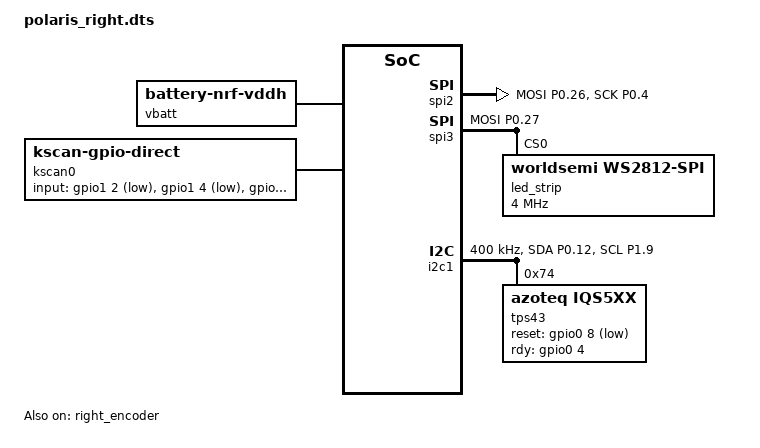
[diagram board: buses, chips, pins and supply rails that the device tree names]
#include "polaris.dtsi"
#include <dt-bindings/led/led.h>

&default_transform {
		col-offset=<25>;
};

/ {
};

&pinctrl {
 spi2_default: spi2_default {
				group1 {
						psels = <NRF_PSEL(SPIM_MOSI, 0, 26)>,
						<NRF_PSEL(SPIM_SCK, 0, 4)>;
				};
		};
	
    spi2_sleep: spi2_sleep {
				group1 {
						psels = <NRF_PSEL(SPIM_MOSI, 0, 26)>,
						<NRF_PSEL(SPIM_SCK, 0, 4)>;
						low-power-enable;
				};
		};

    spi3_default: spi3_default {
				group1 {
						psels = <NRF_PSEL(SPIM_MOSI, 0, 27)>;
				};
		};
	
    spi3_sleep: spi3_sleep {
				group1 {
						psels = <NRF_PSEL(SPIM_MOSI, 0, 27)>;
						low-power-enable;
				};
		};
    i2c1_default: i2c1_default {
        group1 {
            psels = <NRF_PSEL(TWIM_SDA, 0, 12)>,
                <NRF_PSEL(TWIM_SCL, 1, 9)>;
						bias-pull-up;
        };
    };

    i2c1_sleep: i2c1_sleep {
        group1 {
            psels = <NRF_PSEL(TWIM_SDA, 0, 12)>,
                <NRF_PSEL(TWIM_SCL, 1, 9)>;
            low-power-enable;
						bias-pull-up;
        };
    };
};



lpm_view_spi: &spi2 {
    compatible = "nordic,nrf-spim";
    pinctrl-0 = <&spi2_default>;
    pinctrl-1 = <&spi2_sleep>;
    pinctrl-names = "default", "sleep";
    cs-gpios = <&gpio0 6 (GPIO_ACTIVE_HIGH | GPIO_PULL_DOWN) >;
};

nice_view_spi: &spi2 {
    compatible = "nordic,nrf-spim";
    pinctrl-0 = <&spi2_default>;
    pinctrl-1 = <&spi2_sleep>;
    pinctrl-names = "default", "sleep";
    cs-gpios = <&gpio0 6 (GPIO_ACTIVE_HIGH | GPIO_PULL_DOWN) >;
};


&spi3 {
	compatible = "nordic,nrf-spim";
	status = "okay";
	pinctrl-0 = <&spi3_default>;
	pinctrl-1 = <&spi3_sleep>;
	pinctrl-names = "default", "sleep";

	led_strip: ws2812@0 {
				compatible ="worldsemi,ws2812-spi";
        /* SPI */
        reg = <0>; /* ignored, but necessary for SPI bindings */
        spi-max-frequency = <4000000>;

        /* WS2812 */
        chain-length = <25>; /* arbitrary; change at will */
        spi-one-frame = <0x70>;
        spi-zero-frame = <0x40>;

        color-mapping = <LED_COLOR_ID_GREEN LED_COLOR_ID_RED LED_COLOR_ID_BLUE>;
		};
};

&i2c1 {
		status = "okay";
		clock-frequency = <400000>; 
    pinctrl-0 = <&i2c1_default>;
    pinctrl-1 = <&i2c1_sleep>;
    pinctrl-names = "default", "sleep";
		tps43: iqs5xx@74 {
		status = "okay";
		compatible = "azoteq,iqs5xx";
		reg = <0x74>;

		reset-gpios = <&gpio0 8 GPIO_ACTIVE_LOW>;
		rdy-gpios = <&gpio0 4 GPIO_ACTIVE_HIGH>;

		/*
		* Potentially non-exhaustive list of configuration options.
		* See: dts/bindings/input/azoteq,iqs5xx-common.yaml for a full list.
		*/
		one-finger-tap;
		press-and-hold;
		press-and-hold-time = <250>;
		two-finger-tap;

		scroll;
		natural-scroll-y;
		natural-scroll-x;

		// If the beta is small, the filtering is stronger, and if the beta is larger, the filtering is weaker.
		bottom-beta = <5>;
		stationary-threshold = <5>;
    switch-xy;
	};
};

&right_encoder {
    status = "okay";
};

&physical_layout0 {
  	kscan = <&kscan0>;
};

/ {
	chosen {
		zmk,physical-layout = &physical_layout0;
    zmk,underglow = &led_strip;
		zmk,battery =&vbatt;
	};
    vbatt: vbatt {
        compatible = "zmk,battery-nrf-vddh";
    };
    kscan0: kscan {
		compatible = "zmk,kscan-gpio-direct";
		wakeup-source;
		input-gpios
			= <&gpio1  2 (GPIO_ACTIVE_LOW | GPIO_PULL_UP)>  //19
			, <&gpio1	 4 (GPIO_ACTIVE_LOW | GPIO_PULL_UP)> //18
			, <&gpio1	 6 (GPIO_ACTIVE_LOW | GPIO_PULL_UP)>  //13
			, <&gpio1  5 (GPIO_ACTIVE_LOW | GPIO_PULL_UP)>  //12
			, <&gpio1  7 (GPIO_ACTIVE_LOW | GPIO_PULL_UP)>  //5
			, <&gpio0  9 (GPIO_ACTIVE_LOW | GPIO_PULL_UP)> //4
			, <&gpio0  10 (GPIO_ACTIVE_LOW | GPIO_PULL_UP)> //ex1
			, <&gpio1	 12 (GPIO_ACTIVE_LOW | GPIO_PULL_UP)>  //20
			, <&gpio1  11 (GPIO_ACTIVE_LOW | GPIO_PULL_UP)>  //17
			, <&gpio1  14 (GPIO_ACTIVE_LOW | GPIO_PULL_UP)>  //14
			, <&gpio1  10 (GPIO_ACTIVE_LOW | GPIO_PULL_UP)>  //11
			, <&gpio1 13 (GPIO_ACTIVE_LOW | GPIO_PULL_UP)> //6
			, <&gpio1 15 (GPIO_ACTIVE_LOW | GPIO_PULL_UP)>  //3
			, <&gpio0 2 (GPIO_ACTIVE_LOW | GPIO_PULL_UP)> //ex2
			, <&gpio0 29  (GPIO_ACTIVE_LOW | GPIO_PULL_UP)>  //21
			, <&gpio0 31 (GPIO_ACTIVE_LOW | GPIO_PULL_UP)> //16
			, <&gpio0 3 (GPIO_ACTIVE_LOW | GPIO_PULL_UP)>  //15
			, <&gpio0 28 (GPIO_ACTIVE_LOW | GPIO_PULL_UP)>  //10
			, <&gpio0 30 (GPIO_ACTIVE_LOW | GPIO_PULL_UP)>  //7
			, <&gpio0 11 (GPIO_ACTIVE_LOW | GPIO_PULL_UP)> //2
			, <&gpio0 14 (GPIO_ACTIVE_LOW | GPIO_PULL_UP)> //ex3
			, <&gpio0 13 (GPIO_ACTIVE_LOW | GPIO_PULL_UP)> // 9
			, <&gpio0 22 (GPIO_ACTIVE_LOW | GPIO_PULL_UP)> // 8
			 ,<&gpio0 21 (GPIO_ACTIVE_LOW | GPIO_PULL_UP)> //1
			 ,<&gpio0 16 (GPIO_ACTIVE_LOW | GPIO_PULL_UP)> //1
		;
    };
};

&right_trackpad{
	device=<&tps43>;
};
